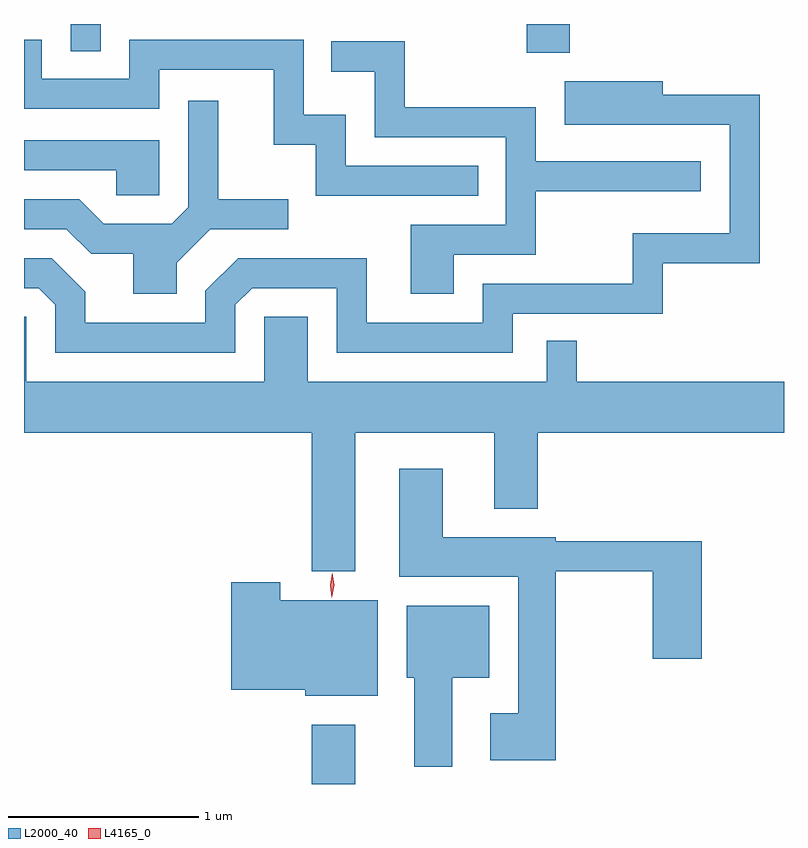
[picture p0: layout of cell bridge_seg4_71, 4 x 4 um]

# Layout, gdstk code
import gdstk
lib = gdstk.Library(unit=1e-6, precision=1e-09)
def R(c, l, rs):  # rectangles x0, y0, x1, y1
    for r in rs: c.add(gdstk.rectangle(r[:2], r[2:], *l))
def P(c, l, *ps):  # polygons
    for p in ps: c.add(gdstk.Polygon(p, *l))
L2000_40 = (2000, 40)
L4165_0 = (4165, 0)

bridge_seg4_71 = lib.new_cell('bridge_seg4_71')
R(bridge_seg4_71, L2000_40, [(1695.691,1370.586,1695.919,1370.899), (1696.821,1374.436,1697.049,1374.586), (1694.421,1374.443,1694.579,1374.586)])
P(bridge_seg4_71, L2000_40, [(1696.568,1373.839),(1695.869,1373.839),(1695.869,1374.109),(1695.649,1374.109),(1695.649,1374.504),(1694.731,1374.504),(1694.731,1374.299),(1694.269,1374.299),(1694.269,1374.504),(1694.176,1374.504),(1694.176,1374.141),(1694.889,1374.141),(1694.889,1374.346),(1695.491,1374.346),(1695.491,1373.951),(1695.711,1373.951),(1695.711,1373.681),(1696.568,1373.681)],
  [(1696.439,1373.371),(1696.869,1373.371),(1696.869,1373.706),(1697.738,1373.706),(1697.738,1373.864),(1696.869,1373.864),(1696.869,1374.149),(1696.179,1374.149),(1696.179,1374.494),(1695.793,1374.494),(1695.793,1374.336),(1696.021,1374.336),(1696.021,1373.991),(1696.711,1373.991),(1696.711,1373.529),(1696.211,1373.529),(1696.211,1373.166),(1696.439,1373.166)],
  [(1695.289,1373.109),(1695.377,1373.196),(1695.821,1373.196),(1695.821,1372.856),(1696.749,1372.856),(1696.749,1373.061),(1697.539,1373.061),(1697.539,1373.326),(1698.049,1373.326),(1698.049,1374.214),(1697.539,1374.214),(1697.539,1374.284),(1697.021,1374.284),(1697.021,1374.056),(1697.891,1374.056),(1697.891,1373.484),(1697.381,1373.484),(1697.381,1373.219),(1696.591,1373.219),(1696.591,1373.014),(1695.979,1373.014),(1695.979,1373.354),(1695.304,1373.354),(1695.131,1373.182),(1695.131,1373.014),(1694.499,1373.014),(1694.499,1373.177),(1694.322,1373.354),(1694.176,1373.354),(1694.176,1373.196),(1694.254,1373.196),(1694.341,1373.109),(1694.341,1372.856),(1695.289,1372.856)],
  [(1694.979,1373.329),(1695.157,1373.506),(1695.568,1373.506),(1695.568,1373.664),(1695.199,1373.664),(1695.199,1374.183),(1695.041,1374.183),(1695.041,1373.622),(1694.954,1373.534),(1694.597,1373.534),(1694.467,1373.664),(1694.176,1373.664),(1694.176,1373.506),(1694.399,1373.506),(1694.529,1373.376),(1694.751,1373.376),(1694.751,1373.166),(1694.979,1373.166)],
  [(1694.889,1373.974),(1694.176,1373.974),(1694.176,1373.816),(1694.661,1373.816),(1694.661,1373.686),(1694.889,1373.686)],
  [(1695.919,1372.436),(1696.651,1372.436),(1696.651,1372.036),(1696.879,1372.036),(1696.879,1372.436),(1698.176,1372.436),(1698.176,1372.704),(1697.084,1372.704),(1697.084,1372.918),(1696.926,1372.918),(1696.926,1372.704),(1695.669,1372.704),(1695.669,1373.044),(1695.441,1373.044),(1695.441,1372.704),(1694.189,1372.704),(1694.189,1373.044),(1694.176,1373.044),(1694.176,1372.436),(1695.691,1372.436),(1695.691,1371.706),(1695.919,1371.706)],
  [(1696.974,1371.706),(1697.486,1371.706),(1697.486,1371.246),(1697.744,1371.246),(1697.744,1371.864),(1696.974,1371.864),(1696.974,1371.884),(1696.379,1371.884),(1696.379,1372.244),(1696.151,1372.244),(1696.151,1371.676),(1696.776,1371.676),(1696.776,1370.959),(1696.631,1370.959),(1696.631,1370.711),(1696.974,1370.711)],
  [(1696.039,1371.554),(1695.524,1371.554),(1695.524,1371.649),(1695.266,1371.649),(1695.266,1371.081),(1695.656,1371.081),(1695.656,1371.051),(1696.039,1371.051)],
  [(1696.429,1371.146),(1696.624,1371.146),(1696.624,1371.524),(1696.191,1371.524),(1696.191,1371.146),(1696.231,1371.146),(1696.231,1370.676),(1696.429,1370.676)])
P(bridge_seg4_71, L4165_0, [(1695.797,1371.566),(1695.796,1371.567),(1695.788,1371.633),(1695.798,1371.699),(1695.798,1371.699),(1695.799,1371.699),(1695.808,1371.633),(1695.797,1371.567)])

lib.write_gds('bridge_seg4_71.gds')
